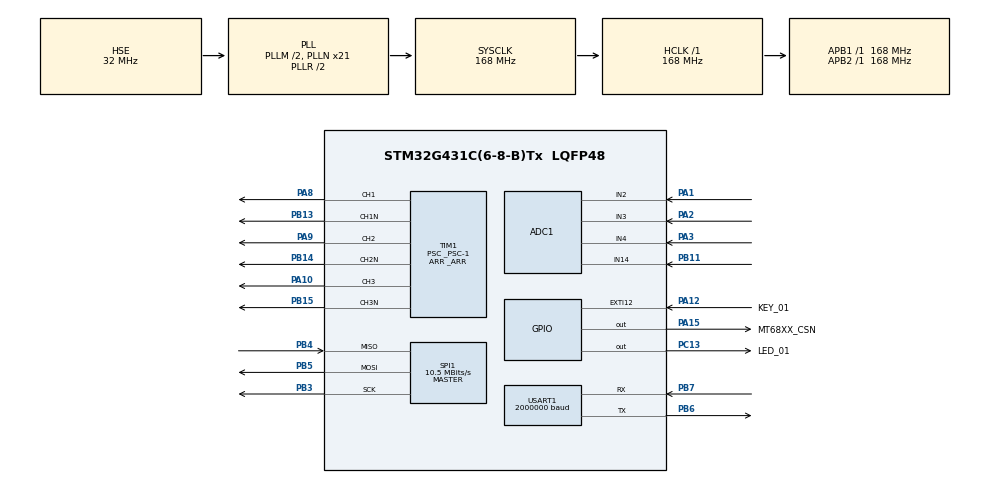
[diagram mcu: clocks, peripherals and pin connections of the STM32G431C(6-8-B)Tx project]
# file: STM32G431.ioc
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ADC1.Channel-15\#ChannelRegularConversion=ADC_CHANNEL_14
ADC1.ClockPrescaler=ADC_CLOCK_ASYNC_DIV4
ADC1.ContinuousConvMode=ENABLE
ADC1.EOCSelection=ADC_EOC_SINGLE_CONV
ADC1.EnableInjectedConversion=ENABLE
ADC1.EnableRegularConversion=ENABLE
ADC1.ExternalTrigInjecConv=ADC_EXTERNALTRIGINJEC_T1_CC4
ADC1.InjNumberOfConversion=3
ADC1.InjectedChannel-14\#ChannelInjectedConversion=ADC_CHANNEL_3
ADC1.InjectedChannel-16\#ChannelInjectedConversion=ADC_CHANNEL_2
ADC1.InjectedChannel-17\#ChannelInjectedConversion=ADC_CHANNEL_4
ADC1.InjectedOffsetNumber-14\#ChannelInjectedConversion=ADC_OFFSET_NONE
ADC1.InjectedOffsetNumber-16\#ChannelInjectedConversion=ADC_OFFSET_NONE
ADC1.InjectedOffsetNumber-17\#ChannelInjectedConversion=ADC_OFFSET_NONE
ADC1.InjectedRank-14\#ChannelInjectedConversion=1
ADC1.InjectedRank-16\#ChannelInjectedConversion=2
ADC1.InjectedRank-17\#ChannelInjectedConversion=3
ADC1.InjectedSamplingTime-14\#ChannelInjectedConversion=ADC_SAMPLETIME_2CYCLES_5
ADC1.InjectedSamplingTime-16\#ChannelInjectedConversion=ADC_SAMPLETIME_2CYCLES_5
ADC1.InjectedSamplingTime-17\#ChannelInjectedConversion=ADC_SAMPLETIME_2CYCLES_5
ADC1.NbrOfConversionFlag=1
ADC1.OffsetNumber-15\#ChannelRegularConversion=ADC_OFFSET_NONE
ADC1.Overrun=ADC_OVR_DATA_OVERWRITTEN
ADC1.Rank-15\#ChannelRegularConversion=1
ADC1.Rank3_Channel=ADC_CHANNEL_4
ADC1.SamplingTime-15\#ChannelRegularConversion=ADC_SAMPLETIME_2CYCLES_5
ADC1.master=1
Dma.Request0=USART1_RX
Dma.Request1=USART1_TX
Dma.USART1_RX.0.Direction=DMA_PERIPH_TO_MEMORY
Dma.USART1_RX.0.EventEnable=DISABLE
Dma.USART1_RX.0.Instance=DMA1_Channel1
Dma.USART1_RX.0.MemDataAlignment=DMA_MDATAALIGN_BYTE
Dma.USART1_RX.0.MemInc=DMA_MINC_ENABLE
Dma.USART1_RX.0.Mode=DMA_NORMAL
Dma.USART1_RX.0.PeriphDataAlignment=DMA_PDATAALIGN_BYTE
Dma.USART1_RX.0.PeriphInc=DMA_PINC_DISABLE
Dma.USART1_RX.0.Polarity=HAL_DMAMUX_REQ_GEN_RISING
Dma.USART1_RX.0.Priority=DMA_PRIORITY_LOW
Dma.USART1_RX.0.RequestNumber=1
Dma.USART1_RX.0.SignalID=NONE
Dma.USART1_RX.0.SyncEnable=DISABLE
Dma.USART1_RX.0.SyncPolarity=HAL_DMAMUX_SYNC_NO_EVENT
Dma.USART1_RX.0.SyncRequestNumber=1
Dma.USART1_RX.0.SyncSignalID=NONE
Dma.USART1_TX.1.Direction=DMA_MEMORY_TO_PERIPH
Dma.USART1_TX.1.EventEnable=DISABLE
Dma.USART1_TX.1.Instance=DMA1_Channel2
Dma.USART1_TX.1.MemDataAlignment=DMA_MDATAALIGN_BYTE
Dma.USART1_TX.1.MemInc=DMA_MINC_ENABLE
Dma.USART1_TX.1.Mode=DMA_NORMAL
Dma.USART1_TX.1.PeriphDataAlignment=DMA_PDATAALIGN_BYTE
Dma.USART1_TX.1.PeriphInc=DMA_PINC_DISABLE
Dma.USART1_TX.1.Polarity=HAL_DMAMUX_REQ_GEN_RISING
Dma.USART1_TX.1.Priority=DMA_PRIORITY_LOW
Dma.USART1_TX.1.RequestNumber=1
Dma.USART1_TX.1.SignalID=NONE
Dma.USART1_TX.1.SyncEnable=DISABLE
Dma.USART1_TX.1.SyncPolarity=HAL_DMAMUX_SYNC_NO_EVENT
Dma.USART1_TX.1.SyncRequestNumber=1
Dma.USART1_TX.1.SyncSignalID=NONE
Mcu.Family=STM32G4
Mcu.Name=STM32G431C(6-8-B)Tx
Mcu.Package=LQFP48
Mcu.UserConstants=_PSC,1;_ARR,4200
NVIC.ADC1_2_IRQn=true\:0\:0\:false\:false\:true\:true\:true\:true
NVIC.DMA1_Channel2_IRQn=true\:3\:0\:true\:false\:true\:true\:true\:true
NVIC.EXTI15_10_IRQn=true\:3\:0\:true\:false\:true\:true\:true\:true
NVIC.PriorityGroup=NVIC_PRIORITYGROUP_4
NVIC.USART1_IRQn=true\:0\:0\:false\:false\:true\:true\:true\:true
PA1.Mode=IN2-Single-Ended
PA1.Signal=ADC1_IN2
PA10.Signal=S_TIM1_CH3
PA12.GPIO_Label=KEY_01
PA12.Signal=GPXTI12
PA13.Mode=Serial_Wire
PA13.Signal=SYS_JTMS-SWDIO
PA14.Mode=Serial_Wire
PA14.Signal=SYS_JTCK-SWCLK
PA15.GPIO_Label=MT68XX_CSN
PA15.Signal=GPIO_Output
PA2.Mode=IN3-Single-Ended
PA2.Signal=ADC1_IN3
PA3.Mode=IN4-Single-Ended
PA3.Signal=ADC1_IN4
PA8.Signal=S_TIM1_CH1
PA9.Signal=S_TIM1_CH2
PB11.Mode=IN14-Single-Ended
PB11.Signal=ADC1_IN14
PB13.Mode=PWM Generation1 CH1 CH1N
PB13.Signal=TIM1_CH1N
PB14.Mode=PWM Generation2 CH2 CH2N
PB14.Signal=TIM1_CH2N
PB15.Mode=PWM Generation3 CH3 CH3N
PB15.Signal=TIM1_CH3N
PB3.Mode=Full_Duplex_Master
PB3.Signal=SPI1_SCK
PB4.Mode=Full_Duplex_Master
PB4.Signal=SPI1_MISO
PB5.Mode=Full_Duplex_Master
PB5.Signal=SPI1_MOSI
PB6.Mode=Asynchronous
PB6.Signal=USART1_TX
PB7.Mode=Asynchronous
PB7.Signal=USART1_RX
PC13.GPIO_Label=LED_01
PC13.Signal=GPIO_Output
PF0-OSC_IN.Mode=HSE-External-Oscillator
PF0-OSC_IN.Signal=RCC_OSC_IN
PF1-OSC_OUT.Mode=HSE-External-Oscillator
PF1-OSC_OUT.Signal=RCC_OSC_OUT
ProjectManager.HeapSize=0x400
ProjectManager.StackSize=0x800
ProjectManager.TargetToolchain=Makefile
RCC.ADC12Freq_Value=168000000
RCC.AHBFreq_Value=168000000
RCC.APB1Freq_Value=168000000
RCC.APB1TimFreq_Value=168000000
RCC.APB2Freq_Value=168000000
RCC.APB2TimFreq_Value=168000000
RCC.CortexFreq_Value=168000000
RCC.EXTERNAL_CLOCK_VALUE=12288000
RCC.HCLKFreq_Value=168000000
RCC.HSE_VALUE=32000000
RCC.HSI48_VALUE=48000000
RCC.HSI_VALUE=16000000
RCC.LSE_VALUE=32768
RCC.PLLM=RCC_PLLM_DIV2
RCC.PLLN=21
RCC.PLLSourceVirtual=RCC_PLLSOURCE_HSE
RCC.SYSCLKFreq_VALUE=168000000
RCC.SYSCLKSource=RCC_SYSCLKSOURCE_PLLCLK
RCC.USBFreq_Value=168000000
RCC.VCOOutputFreq_Value=336000000
SH.S_TIM1_CH1.0=TIM1_CH1,PWM Generation1 CH1 CH1N
SH.S_TIM1_CH2.0=TIM1_CH2,PWM Generation2 CH2 CH2N
SH.S_TIM1_CH3.0=TIM1_CH3,PWM Generation3 CH3 CH3N
SPI1.BaudRatePrescaler=SPI_BAUDRATEPRESCALER_16
SPI1.CLKPhase=SPI_PHASE_2EDGE
SPI1.CLKPolarity=SPI_POLARITY_LOW
SPI1.CalculateBaudRate=10.5 MBits/s
SPI1.DataSize=SPI_DATASIZE_16BIT
SPI1.Direction=SPI_DIRECTION_2LINES
SPI1.Mode=SPI_MODE_MASTER
SPI1.VirtualType=VM_MASTER
TIM1.AutoReloadPreload=TIM_AUTORELOAD_PRELOAD_ENABLE
TIM1.AutomaticOutput=TIM_AUTOMATICOUTPUT_DISABLE
TIM1.Channel-PWM\ Generation1\ CH1\ CH1N=TIM_CHANNEL_1
TIM1.Channel-PWM\ Generation2\ CH2\ CH2N=TIM_CHANNEL_2
TIM1.Channel-PWM\ Generation3\ CH3\ CH3N=TIM_CHANNEL_3
TIM1.Channel-PWM\ Generation4\ No\ Output=TIM_CHANNEL_4
TIM1.ClockDivision=TIM_CLOCKDIVISION_DIV2
TIM1.CounterMode=TIM_COUNTERMODE_CENTERALIGNED3
TIM1.DeadTime=0
TIM1.OCMode_PWM-PWM\ Generation1\ CH1\ CH1N=TIM_OCMODE_PWM2
TIM1.OCMode_PWM-PWM\ Generation2\ CH2\ CH2N=TIM_OCMODE_PWM2
TIM1.OCMode_PWM-PWM\ Generation3\ CH3\ CH3N=TIM_OCMODE_PWM2
TIM1.OCMode_PWM-PWM\ Generation4\ No\ Output=TIM_OCMODE_PWM2
TIM1.OffStateIDLEMode=TIM_OSSI_DISABLE
TIM1.OffStateRunMode=TIM_OSSR_DISABLE
TIM1.PeriodNoDither=_ARR
TIM1.Prescaler=_PSC-1
TIM1.PulseNoDither_2=0
TIM1.PulseNoDither_4=2100
TIM1.RepetitionCounter=2
TIM1.TIM_MasterOutputTrigger=TIM_TRGO_OC4REF
TIM1.TIM_MasterOutputTrigger2=TIM_TRGO2_RESET
TIM1.TIM_MasterSlaveMode=TIM_MASTERSLAVEMODE_ENABLE
USART1.BaudRate=2000000
USART1.VirtualMode-Asynchronous=VM_ASYNC
VP_SYS_VS_DBSignals.Mode=DisableDeadBatterySignals
VP_TIM1_VS_ClockSourceINT.Mode=Internal
VP_TIM1_VS_no_output4.Mode=PWM Generation4 No Output
board=custom

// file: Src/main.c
/* USER CODE BEGIN Header */
/**
  ******************************************************************************
  * @file           : main.c
  * @brief          : Main program body
  ******************************************************************************
  * @attention
  *
  *
  *
  ******************************************************************************
  */
/* USER CODE END Header */
#include "main.h"
#include "adc.h"
#include "dma.h"
#include "spi.h"
#include "tim.h"
#include "usart.h"
#include "gpio.h"

/* USER CODE BEGIN Includes */

#include "debuglog.h"
#include "board.h"
#include "taskmodule.h"
/* USER CODE END Includes */

void SystemClock_Config(void);

/* USER CODE BEGIN 0 */
static void hal_libinit(void)
{
  HAL_Init();
  SystemClock_Config();
}
int main(void)
{
  hal_libinit();
  MX_GPIO_Init();
  MX_DMA_Init();
  MX_TIM1_Init();
  MX_SPI1_Init();
  MX_USART1_UART_Init();
  MX_ADC1_Init();
  USER_DEBUG_NORMAL("Init finish\n");
  user_board_init();
  while (1)
  {
    do_taskcalls();
    HAL_Delay(1);
  }
}
/* USER CODE END 0 */

void SystemClock_Config(void)
{
  RCC_OscInitTypeDef RCC_OscInitStruct = {0};
  RCC_ClkInitTypeDef RCC_ClkInitStruct = {0};

  /** Configure the main internal regulator output voltage
  */
  HAL_PWREx_ControlVoltageScaling(PWR_REGULATOR_VOLTAGE_SCALE1_BOOST);

  /** Initializes the RCC Oscillators according to the specified parameters
  * in the RCC_OscInitTypeDef structure.
  */
  RCC_OscInitStruct.OscillatorType = RCC_OSCILLATORTYPE_HSE;
  RCC_OscInitStruct.HSEState = RCC_HSE_ON;
  RCC_OscInitStruct.PLL.PLLState = RCC_PLL_ON;
  RCC_OscInitStruct.PLL.PLLSource = RCC_PLLSOURCE_HSE;
  RCC_OscInitStruct.PLL.PLLM = RCC_PLLM_DIV2;
  RCC_OscInitStruct.PLL.PLLN = 21;
  RCC_OscInitStruct.PLL.PLLP = RCC_PLLP_DIV2;
  RCC_OscInitStruct.PLL.PLLQ = RCC_PLLQ_DIV2;
  RCC_OscInitStruct.PLL.PLLR = RCC_PLLR_DIV2;
  if (HAL_RCC_OscConfig(&RCC_OscInitStruct) != HAL_OK)
  {
    Error_Handler();
  }

  /** Initializes the CPU, AHB and APB buses clocks
  */
  RCC_ClkInitStruct.ClockType = RCC_CLOCKTYPE_HCLK|RCC_CLOCKTYPE_SYSCLK
                              |RCC_CLOCKTYPE_PCLK1|RCC_CLOCKTYPE_PCLK2;
  RCC_ClkInitStruct.SYSCLKSource = RCC_SYSCLKSOURCE_PLLCLK;
  RCC_ClkInitStruct.AHBCLKDivider = RCC_SYSCLK_DIV1;
  RCC_ClkInitStruct.APB1CLKDivider = RCC_HCLK_DIV1;
  RCC_ClkInitStruct.APB2CLKDivider = RCC_HCLK_DIV1;

  if (HAL_RCC_ClockConfig(&RCC_ClkInitStruct, FLASH_LATENCY_4) != HAL_OK)
  {
    Error_Handler();
  }
}

void Error_Handler(void)
{
  __disable_irq();
  while (1)
  {
  }
}
